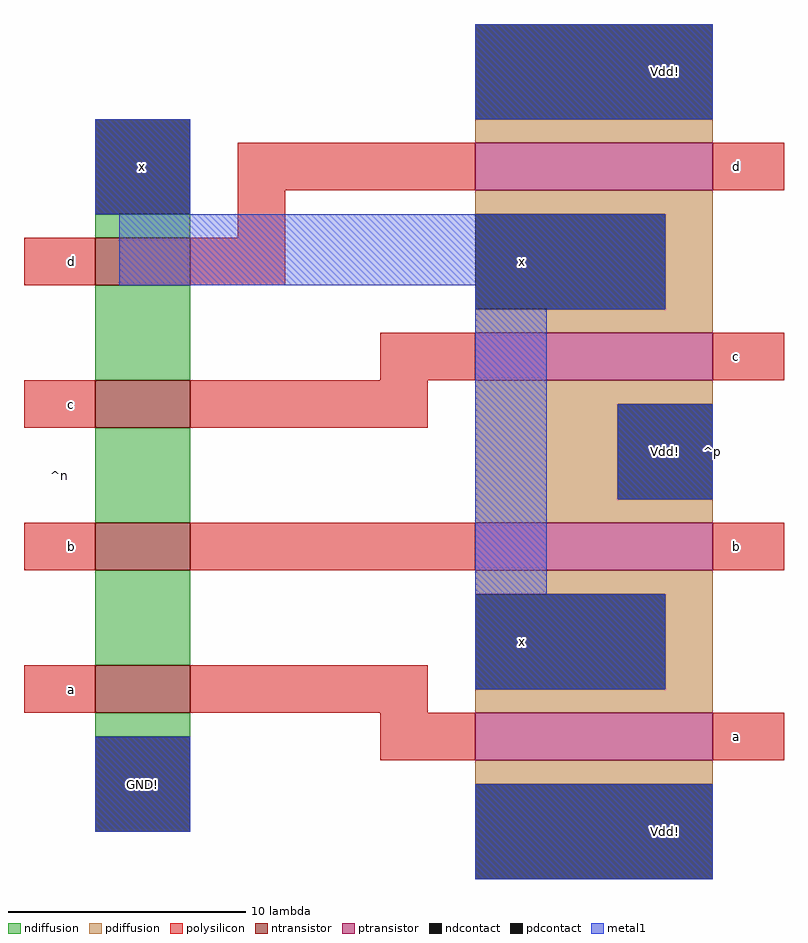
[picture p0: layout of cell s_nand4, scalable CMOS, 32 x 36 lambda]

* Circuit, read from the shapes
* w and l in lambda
.subckt s_nand4 GND! Vdd! a b c d x
M1 n1 a GND! VSUBS nfet w=4 l=2
M2 n2 b n1 VSUBS nfet w=4 l=2
M3 n3 c n2 VSUBS nfet w=4 l=2
M4 x d n3 VSUBS nfet w=4 l=2
M5 x a Vdd! NWELL pfet w=10 l=2
M6 Vdd! b x NWELL pfet w=10 l=2
M7 x c Vdd! NWELL pfet w=10 l=2
M8 Vdd! d x NWELL pfet w=10 l=2
.ends

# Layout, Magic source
magic
tech scmos
<< ndiffusion >>
rect 161 508 165 509
rect 161 502 165 506
rect 161 496 165 500
rect 161 490 165 494
rect 161 487 165 488
<< pdiffusion >>
rect 177 512 187 513
rect 177 509 187 510
rect 185 505 187 509
rect 177 504 187 505
rect 177 501 187 502
rect 177 497 183 501
rect 177 496 187 497
rect 177 493 187 494
rect 185 489 187 493
rect 177 488 187 489
rect 177 485 187 486
<< ntransistor >>
rect 161 506 165 508
rect 161 500 165 502
rect 161 494 165 496
rect 161 488 165 490
<< ptransistor >>
rect 177 510 187 512
rect 177 502 187 504
rect 177 494 187 496
rect 177 486 187 488
<< polysilicon >>
rect 167 510 177 512
rect 187 510 190 512
rect 167 508 169 510
rect 158 506 161 508
rect 165 506 169 508
rect 173 502 177 504
rect 187 502 190 504
rect 158 500 161 502
rect 165 500 175 502
rect 158 494 161 496
rect 165 494 177 496
rect 187 494 190 496
rect 158 488 161 490
rect 165 488 175 490
rect 173 486 177 488
rect 187 486 190 488
<< ndcontact >>
rect 161 509 165 513
rect 161 483 165 487
<< pdcontact >>
rect 177 513 187 517
rect 177 505 185 509
rect 183 497 187 501
rect 177 489 185 493
rect 177 481 187 485
<< metal1 >>
rect 177 513 187 517
rect 161 509 165 513
rect 162 506 185 509
rect 177 505 185 506
rect 177 493 180 505
rect 183 497 187 501
rect 177 489 185 493
rect 161 483 165 487
rect 177 481 187 485
<< labels >>
rlabel polysilicon 160 489 160 489 3 a
rlabel polysilicon 160 495 160 495 3 b
rlabel polysilicon 160 501 160 501 3 c
rlabel polysilicon 160 507 160 507 3 d
rlabel space 158 483 161 513 7 ^n
rlabel space 184 480 190 518 3 ^p
rlabel polysilicon 188 495 188 495 3 b
rlabel polysilicon 188 487 188 487 3 a
rlabel polysilicon 188 511 188 511 3 d
rlabel polysilicon 188 503 188 503 3 c
rlabel ndcontact 163 511 163 511 4 x
rlabel pdcontact 185 499 185 499 5 Vdd!
rlabel ndcontact 163 485 163 485 5 GND!
rlabel pdcontact 179 491 179 491 1 x
rlabel pdcontact 179 507 179 507 1 x
rlabel pdcontact 185 483 185 483 5 Vdd!
rlabel pdcontact 185 515 185 515 5 Vdd!
<< end >>
